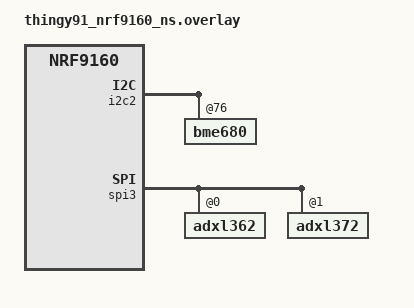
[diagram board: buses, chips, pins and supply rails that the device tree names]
/*
 * Copyright (c) 2023 Nordic Semiconductor ASA
 *
 * SPDX-License-Identifier: LicenseRef-Nordic-5-Clause
 */

/ {
	aliases {
		temp-sensor = &bme680;
		humidity-sensor = &bme680;
		pressure-sensor = &bme680;
		iaq-sensor = &bme680;
		accelerometer = &adxl362;
		impact-sensor = &adxl372;
	};
};

&i2c2 {
	bme680: bme680@76 {};
};

&spi3 {
	adxl362: adxl362@0 {
		autosleep;
	};

	adxl372: adxl372@1 {
		odr = <4>;
		bw = <4>;
		hpf = <0>;
	};
};
